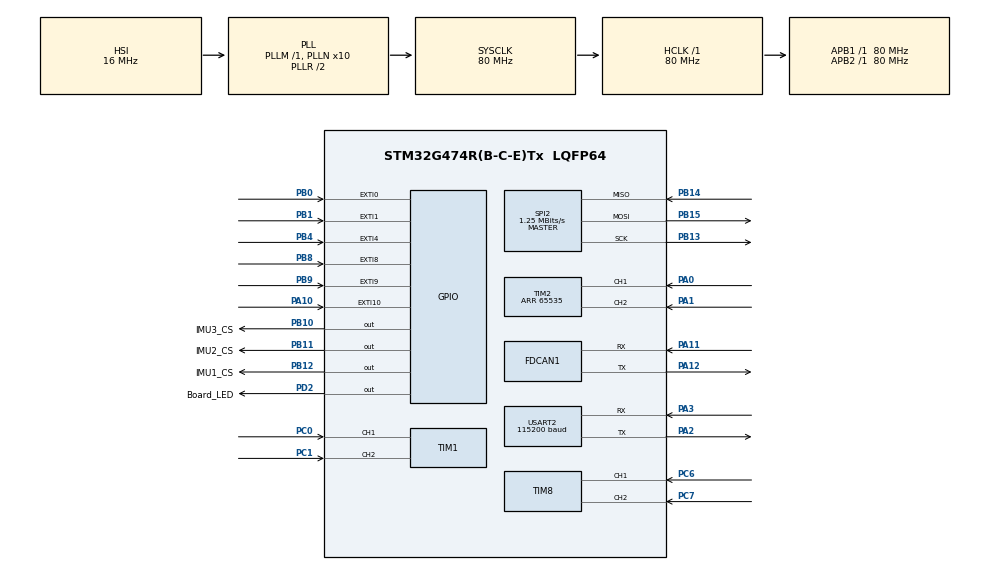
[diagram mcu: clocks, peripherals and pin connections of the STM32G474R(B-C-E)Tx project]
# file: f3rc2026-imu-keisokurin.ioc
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FDCAN1.AutoRetransmission=DISABLE
FDCAN1.CalculateBaudRateNominal=1000000
FDCAN1.CalculateTimeQuantumNominal=50.0
FDCAN1.ClockDivider=FDCAN_CLOCK_DIV1
FDCAN1.DataPrescaler=2
FDCAN1.DataSyncJumpWidth=1
FDCAN1.DataTimeSeg1=15
FDCAN1.DataTimeSeg2=4
FDCAN1.ExtFiltersNbr=0
FDCAN1.FrameFormat=FDCAN_FRAME_FD_BRS
FDCAN1.Mode=FDCAN_MODE_NORMAL
FDCAN1.NominalPrescaler=4
FDCAN1.NominalSyncJumpWidth=1
FDCAN1.NominalTimeSeg1=15
FDCAN1.NominalTimeSeg2=4
FDCAN1.ProtocolException=DISABLE
FDCAN1.StdFiltersNbr=1
FDCAN1.TransmitPause=DISABLE
FDCAN1.TxFifoQueueMode=FDCAN_TX_FIFO_OPERATION
Mcu.Family=STM32G4
Mcu.Name=STM32G474R(B-C-E)Tx
Mcu.Package=LQFP64
NVIC.FDCAN1_IT0_IRQn=true\:0\:0\:false\:false\:true\:true\:true\:true
NVIC.FDCAN1_IT1_IRQn=true\:0\:0\:false\:false\:true\:true\:true\:true
NVIC.PriorityGroup=NVIC_PRIORITYGROUP_4
NVIC.TIM6_DAC_IRQn=true\:0\:0\:false\:false\:true\:true\:true\:true
PA0.GPIO_PuPd=GPIO_PULLUP
PA0.Signal=S_TIM2_CH1
PA1.GPIO_PuPd=GPIO_PULLUP
PA1.Signal=S_TIM2_CH2
PA10.Signal=GPXTI10
PA11.Mode=FDCAN_Activate
PA11.Signal=FDCAN1_RX
PA12.Mode=FDCAN_Activate
PA12.Signal=FDCAN1_TX
PA2.Mode=Asynchronous
PA2.Signal=USART2_TX
PA3.Mode=Asynchronous
PA3.Signal=USART2_RX
PB0.Signal=GPXTI0
PB1.Signal=GPXTI1
PB10.GPIO_Label=IMU3_CS
PB10.PinState=GPIO_PIN_SET
PB10.Signal=GPIO_Output
PB11.GPIO_Label=IMU2_CS
PB11.PinState=GPIO_PIN_SET
PB11.Signal=GPIO_Output
PB12.GPIO_Label=IMU1_CS
PB12.PinState=GPIO_PIN_SET
PB12.Signal=GPIO_Output
PB13.Mode=Full_Duplex_Master
PB13.Signal=SPI2_SCK
PB14.Mode=Full_Duplex_Master
PB14.Signal=SPI2_MISO
PB15.Mode=Full_Duplex_Master
PB15.Signal=SPI2_MOSI
PB4.Signal=GPXTI4
PB8-BOOT0.Signal=GPXTI8
PB9.Signal=GPXTI9
PC0.GPIO_PuPd=GPIO_PULLUP
PC0.Signal=S_TIM1_CH1
PC1.GPIO_PuPd=GPIO_PULLUP
PC1.Signal=S_TIM1_CH2
PC6.GPIO_PuPd=GPIO_PULLUP
PC6.Signal=S_TIM8_CH1
PC7.GPIO_PuPd=GPIO_PULLUP
PC7.Signal=S_TIM8_CH2
PD2.GPIO_Label=Board_LED
PD2.Signal=GPIO_Output
PF0-OSC_IN.Mode=HSE-External-Oscillator
PF0-OSC_IN.Signal=RCC_OSC_IN
PF1-OSC_OUT.Mode=HSE-External-Oscillator
PF1-OSC_OUT.Signal=RCC_OSC_OUT
ProjectManager.HeapSize=0x200
ProjectManager.StackSize=0x400
ProjectManager.TargetToolchain=CMake
RCC.ADC12Freq_Value=80000000
RCC.ADC345Freq_Value=80000000
RCC.AHBFreq_Value=80000000
RCC.APB1Freq_Value=80000000
RCC.APB1TimFreq_Value=80000000
RCC.APB2Freq_Value=80000000
RCC.APB2TimFreq_Value=80000000
RCC.CortexFreq_Value=80000000
RCC.EXTERNAL_CLOCK_VALUE=12288000
RCC.FLatency=FLASH_LATENCY_2
RCC.HCLKFreq_Value=80000000
RCC.HSE_VALUE=8000000
RCC.HSI48_VALUE=48000000
RCC.HSI_VALUE=16000000
RCC.LSE_VALUE=32768
RCC.PLLN=10
RCC.SYSCLKFreq_VALUE=80000000
RCC.SYSCLKSource=RCC_SYSCLKSOURCE_PLLCLK
RCC.USBFreq_Value=80000000
RCC.VCOOutputFreq_Value=160000000
SH.S_TIM1_CH1.0=TIM1_CH1,Encoder_Interface
SH.S_TIM1_CH2.0=TIM1_CH2,Encoder_Interface
SH.S_TIM2_CH1.0=TIM2_CH1,Encoder_Interface
SH.S_TIM2_CH2.0=TIM2_CH2,Encoder_Interface
SH.S_TIM8_CH1.0=TIM8_CH1,Encoder_Interface
SH.S_TIM8_CH2.0=TIM8_CH2,Encoder_Interface
SPI2.BaudRatePrescaler=SPI_BAUDRATEPRESCALER_64
SPI2.CLKPhase=SPI_PHASE_2EDGE
SPI2.CLKPolarity=SPI_POLARITY_HIGH
SPI2.CalculateBaudRate=1.25 MBits/s
SPI2.DataSize=SPI_DATASIZE_8BIT
SPI2.Direction=SPI_DIRECTION_2LINES
SPI2.Mode=SPI_MODE_MASTER
SPI2.VirtualType=VM_MASTER
TIM1.EncoderMode=TIM_ENCODERMODE_TI12
TIM2.EncoderMode=TIM_ENCODERMODE_TI12
TIM2.PeriodNoDither=65535
TIM6.AutoReloadPreload=TIM_AUTORELOAD_PRELOAD_DISABLE
TIM6.CounterMode=TIM_COUNTERMODE_UP
TIM6.Dithering=Disable
TIM6.PeriodNoDither=999
TIM6.Prescaler=79
TIM6.TIM_MasterOutputTrigger=TIM_TRGO_RESET
TIM8.EncoderMode=TIM_ENCODERMODE_TI12
USART2.AutoBaudRateEnableParam=UART_ADVFEATURE_AUTOBAUDRATE_DISABLE
USART2.BaudRate=115200
USART2.ClockPrescaler=PRESCALER_DIV1
USART2.DMADisableonRxErrorParam=ADVFEATURE_DMA_ENABLEONRXERROR
USART2.DataInvertParam=ADVFEATURE_DATAINV_DISABLE
USART2.FIFOMode=FIFOMODE_DISABLE
USART2.MSBFirstParam=ADVFEATURE_MSBFIRST_DISABLE
USART2.Mode=MODE_TX_RX
USART2.OneBitSampling=UART_ONE_BIT_SAMPLE_DISABLE
USART2.OverSampling=UART_OVERSAMPLING_16
USART2.OverrunDisableParam=ADVFEATURE_OVERRUN_ENABLE
USART2.Parity=PARITY_NONE
USART2.RXFIFOThreshold=RXFIFO_THRESHOLD_1EIGHTHFULL
USART2.RxPinLevelInvertParam=ADVFEATURE_RXINV_DISABLE
USART2.StopBits=STOPBITS_1
USART2.SwapParam=ADVFEATURE_SWAP_DISABLE
USART2.TXFIFOThreshold=TXFIFO_THRESHOLD_1EIGHTHFULL
USART2.TxPinLevelInvertParam=ADVFEATURE_TXINV_DISABLE
USART2.VirtualMode-Asynchronous=VM_ASYNC
USART2.WordLength=WORDLENGTH_8B
VP_SYS_VS_DBSignals.Mode=DisableDeadBatterySignals
VP_TIM6_VS_ClockSourceINT.Mode=Enable_Timer
board=custom

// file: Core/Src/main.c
/* USER CODE BEGIN Header */
/**
  ******************************************************************************
  * @file           : main.c
  * @brief          : Main program body
  ******************************************************************************
  * @attention
  *
  * Copyright (c) 2025 STMicroelectronics.
  * All rights reserved.
  *
  * This software is licensed under terms that can be found in the LICENSE file
  * in the root directory of this software component.
  * If no LICENSE file comes with this software, it is provided AS-IS.
  *
  ******************************************************************************
  */
/* USER CODE END Header */
#include "main.h"

/* USER CODE BEGIN Includes */
#include <stdio.h>
#include <stdlib.h>
#include <stdbool.h>
#include <math.h>
/* USER CODE END Includes */

/* USER CODE BEGIN PD */
// CANIDの定義
#define CAN_ID_FEEDBACK 0x015 // グローバル座標と回転角の送信

#define M_PI 3.14159265358979323846 //math.hから除外されたとき用
/* USER CODE END PD */

/* USER CODE BEGIN PM */
#define R 30.0//mm  //radious of wheel
#define CONV M_PI / 180.0f // 度/秒 を ラジアン/秒 に変換する時に掛ける
#define PPR 2000.0 //pulses per revolution
#define START_POS_X (2000.0f+ 500.0f / 2.0f)
#define START_POS_Y (500.0f / 2.0f)
#define START_THETA M_PI

// 機体の機構パラメータ (実測値をmm単位等で設定。CADデータの原点を仮想的な機体中心とした)
const float L = 15.80f; // y軸方向を向く輪のx軸からの距離

#define AVG_WINDOW_SIZE 25
/* USER CODE END PM */

FDCAN_HandleTypeDef hfdcan1;

SPI_HandleTypeDef hspi2;

TIM_HandleTypeDef htim1;
TIM_HandleTypeDef htim2;
TIM_HandleTypeDef htim6;
TIM_HandleTypeDef htim8;

UART_HandleTypeDef huart2;

/* USER CODE BEGIN PV */
FDCAN_TxHeaderTypeDef TxHeader;

//IMU制御の変数
typedef struct {
    int16_t gx, gy, gz; //gyro (x,y,z)
    int16_t ax, ay, az; //accel(x,y,z)
} IMUData;

uint8_t whoami, whoami2, whoami3; // IMUセンサが正しく返答するかを確認するためのデバッグ用ID保持変数
volatile IMUData imu[3];
volatile float gyro_x, gyro_y, gyro_z;
volatile float accel_x, accel_y, accel_z;

// ジャイロセンサの静止時オフセット（ゼロ点バイアス誤差）を保持
float gyro_x_bias = 0.0f;
float gyro_y_bias = 0.0f;
float gyro_z_bias = 0.0f;

const float G_sensitivity = 0.070f; // 生データをdpsに変換
const float A_sensitivity = 0.488f; // 生データをミリgに変換
const float GYRO_Z_SCALE = 0.9965f; //要変更 // 実測誤差（ゲイン誤差）を微修正するための補正係数

float cos_30, sin_30;
bool isSettingBias = 1; // IMUのゼロ点バイアス（静止時ノイズ）を測定中かどうかを表すフラグ
bool isSettingWheel = 1; // オドメティ（計測輪）の位置・角度情報を初期化（リセット）中かどうかを表すフラグ
float beta = 0.1f; //Madgwickフィルタのゲイン //IMUのデータからクォータニオン（姿勢）を計算するMadgwick（マドウィック）フィルタにおける「加速度センサによる補正の強さを決めるハイパーパラメータ
float roll, pitch, yaw;
GPIO_TypeDef* const IMU_CS_PORTS[3] = {IMU1_CS_GPIO_Port, IMU2_CS_GPIO_Port, IMU3_CS_GPIO_Port}; // CSピンが属している GPIOポートを格納した配列
const uint16_t IMU_CS_PINS[3]       = {IMU1_CS_Pin, IMU2_CS_Pin, IMU3_CS_Pin}; // CSピンの ピン番号を格納

//計測輪制御の変数
volatile int16_t value[3]; // 1ms（前回からの間隔）の間に各エンコーダがカウントしたパルス数（変位量）
volatile int16_t sum_value[3]; // プログラム起動（またはリセット）からの全累積パルス数（総回転量）

//共通の変数
float dt = 0.001f; // 制御・積分計算のサンプリング周期
uint32_t last_time = 0; // 前回処理を実行した時刻（ミリ秒単位のタイムスタンプ）を記録するための変数
uint32_t print_counter = 0; // デバッグ用シリアル通信（printf）の出力間隔を間引くためのダウンカウンタ ex count=1000になったら通信
volatile uint8_t flag_1ms_update = 0; // 1msの割り込み処理が完了したことをメインループ（while(1)）へ伝える同期フラグ（フラグ変数）

/* USER CODE END PV */

void SystemClock_Config(void);
static void MX_GPIO_Init(void);
static void MX_USART2_UART_Init(void);
static void MX_FDCAN1_Init(void);
static void MX_TIM6_Init(void);
static void MX_TIM1_Init(void);
static void MX_TIM2_Init(void);
static void MX_TIM8_Init(void);
static void MX_SPI2_Init(void);
/* USER CODE BEGIN PFP */
void interboard_comms_CAN_filter_init(FDCAN_FilterTypeDef *Hfdcan_Filter_Settings);
void interboard_comms_CAN_txheader_init(FDCAN_TxHeaderTypeDef *Htxheader);
HAL_StatusTypeDef interboard_comms_CAN_RxTxSettings_init(FDCAN_TxHeaderTypeDef *Htxheader);
HAL_StatusTypeDef CAN_SEND(uint32_t CANID, uint32_t DataLength, uint8_t *txdata, FDCAN_HandleTypeDef *hfdcan, FDCAN_TxHeaderTypeDef *htxheader);
void u8_to_int(uint8_t *req, int32_t *des, uint32_t uint8_len);
void u8_to_float(uint8_t *req, float *des, uint32_t uint8_len);
void float_to_u8(float *req, uint8_t *des, uint32_t float_len);
void int16_to_u8(int16_t *req, uint8_t *des, uint32_t int_len);
void int32_to_u8(int32_t *req, uint8_t *des, uint32_t int_len);

void LSM6_Write(uint8_t reg, uint8_t data, int port);
void LSM6_ReadMulti(uint8_t reg, uint8_t* pData, uint16_t size, int port);
uint8_t LSM6_Read(uint8_t reg, int port);
void INIT_IMU(int port);
float invSqrt(float x);
void MadgwickAHRSupdateIMU(float gx, float gy, float gz, float ax, float ay, float az, float dt);
void getEulerAngles();
void resetBias();
void resetWheel();

typedef struct {
    float buffer[AVG_WINDOW_SIZE]; // 静的に確保
    int index;
    int count;
    double sum;
} MovingAvgData;
/* USER CODE END PFP */

/* USER CODE BEGIN 0 */
volatile float q[4] = {1.0f, 0.0f, 0.0f, 0.0f};
static MovingAvgData avg_x, avg_y, avg_omega;
TIM_TypeDef* const TIM[3] = {TIM2, TIM8, TIM1}; // エンコーダ入力として使用している3つのタイマー（TIM）のハードウェアレジスタアドレスをまとめたポインタ配列

int16_t read_encoder_value(int port)
{
  TIM_TypeDef* tim = TIM[port-1];
  int16_t count_t = (int16_t)tim->CNT;
  tim->CNT = 0;

  return count_t;
}

int _write(int file,char *ptr,int len)
{
  HAL_UART_Transmit(&huart2, (uint8_t*)ptr, len, 10);
  return len;
}

void init_averages(MovingAvgData *ma) {
    for(int i = 0; i < AVG_WINDOW_SIZE; i++) ma->buffer[i] = 0.0f;
    ma->index = 0;
    ma->count = 0;
    ma->sum = 0.0f;
}
float update_ma_isr(MovingAvgData *ma, float next_val) {
    // 古い値を引いて新しい値を足す (O(1)の計算)
    if (ma->count == AVG_WINDOW_SIZE) {
        ma->sum -= ma->buffer[ma->index];
    } else {
        ma->count++;
    }

    ma->buffer[ma->index] = next_val;
    ma->sum += next_val;
    ma->index = (ma->index + 1) % AVG_WINDOW_SIZE;

    return ma->sum / (float)ma->count;
}

// CANのRX FIFO1にメッセージが届いたら、それを取り出してCAN IDごとに処理する 使うかわからない
void HAL_FDCAN_RxFifo1Callback(FDCAN_HandleTypeDef *hfdcan, uint32_t RxFifo1ITs){
	if (RESET != (RxFifo1ITs & FDCAN_IT_RX_FIFO1_NEW_MESSAGE)) {

    /* Retrieve Rx messages from RX FIFO1 */
		uint8_t RxData[64] = {};
    FDCAN_RxHeaderTypeDef RxHeader;
		if (HAL_OK != HAL_FDCAN_GetRxMessage(&hfdcan1, FDCAN_RX_FIFO1, &RxHeader, RxData)) {
			printf("fdcan_getrxmessage is error\r\n");
			Error_Handler();
		}
    switch (RxHeader.Identifier)
    {
      default:
        // printf("unknown CAN ID received: 0x%03lX\r\n", RxHeader.Identifier); // printf should be commented out within Callback
        break;
    }
  }
}

void HAL_TIM_PeriodElapsedCallback(TIM_HandleTypeDef *htim){ //タイマー割り込み
	if (&htim6 == htim) { // 1000Hz
    if (isSettingBias == 0){ //IMUがON、バイアス算出済みのとき
      uint8_t buffer[12];
      for (int i=0; i<3; i++){
        LSM6_ReadMulti(0x22, buffer, 12, i+1); // IMU:一括読み出し
        imu[i].gx = ((int16_t)(buffer[1] << 8 | buffer[0]));
        imu[i].gy = ((int16_t)(buffer[3] << 8 | buffer[2]));
        imu[i].gz = ((int16_t)(buffer[5] << 8 | buffer[4]));
        imu[i].ax = ((int16_t)(buffer[7] << 8 | buffer[6]));
        imu[i].ay = ((int16_t)(buffer[9] << 8 | buffer[8]));
        imu[i].az = ((int16_t)(buffer[11] << 8 | buffer[10]));
      }

      // 軸まわりの角速度
      gyro_x = (float)(-imu[1].gy + imu[0].gy*sin_30 - imu[0].gx*cos_30 + imu[2].gx*cos_30 + imu[2].gy*sin_30)*G_sensitivity/3.0f - gyro_x_bias;
      gyro_y = (float)( imu[1].gx - imu[0].gy*cos_30 - imu[0].gx*sin_30 - imu[2].gx*sin_30 + imu[2].gy*cos_30)*G_sensitivity/3.0f - gyro_y_bias;
      gyro_z = (float)( imu[0].gz + imu[1].gz + imu[2].gz )*G_sensitivity/3.0f - gyro_z_bias;
      gyro_z = gyro_z * GYRO_Z_SCALE; // 微小なスケール誤差補正

      accel_x = (float)(-imu[1].ay + imu[0].ay*sin_30 - imu[0].ax*cos_30 + imu[2].ax*cos_30 + imu[2].ay*sin_30)*A_sensitivity/3.0f;
      accel_y = (float)( imu[1].ax - imu[0].ay*cos_30 - imu[0].ax*sin_30 - imu[2].ax*sin_30 + imu[2].ay*cos_30)*A_sensitivity/3.0f;
      accel_z = (float)( imu[0].az + imu[1].az + imu[2].az )*A_sensitivity/3.0f;

      // 微小なノイズを0とみなす, fabs:絶対値
      if (fabs(gyro_x) < 0.5) gyro_x = 0.0;
      if (fabs(gyro_y) < 0.5) gyro_y = 0.0;
      if (fabs(gyro_z) < 0.5) gyro_z = 0.0;

      MadgwickAHRSupdateIMU(gyro_x, gyro_y, gyro_z, accel_x, accel_y, accel_z, dt);

      // バイアス計算中はyawに最低値を代入する
      yaw = isSettingBias ? -32768 : atan2f(2.0f * (q[0] * q[3] + q[1] * q[2]), 1.0f - 2.0f * (q[2] * q[2] + q[3] * q[3]));
    }

    if (isSettingWheel == 0) { // 計測輪有効のとき
      value[0] = read_encoder_value(1);
      value[1] = read_encoder_value(2);
      value[2] = read_encoder_value(3);
    }
    flag_1ms_update = 1; // 1msが経過し無事割り込み処理ができたことを通知
  }
}

/* USER CODE END 0 */

int main(void)
{

  /* USER CODE BEGIN 1 */
  // 変数などの宣言を書くコーナー
  // printfなどによる stdout（標準出力）の「バッファリング（一時保持）」を無効化（OFF）する設定
  setbuf(stdout, NULL);
  /* USER CODE END 1 */

  /* MCU Configuration--------------------------------------------------------*/

  /* Reset of all peripherals, Initializes the Flash interface and the Systick. */
  HAL_Init();

  /* USER CODE BEGIN Init */
  // ハードウェアの初期化、または独自の値の初期化を書くコーナー
  cos_30 = sqrt(3)/2; sin_30 = 0.50f;//IMU用
  /* USER CODE END Init */

  /* Configure the system clock */
  SystemClock_Config();

  /* Initialize all configured peripherals */
  MX_GPIO_Init();
  MX_USART2_UART_Init();
  MX_FDCAN1_Init();
  MX_TIM6_Init();
  MX_TIM1_Init();
  MX_TIM2_Init();
  MX_TIM8_Init();
  MX_SPI2_Init();
  /* USER CODE BEGIN 2 */
  // ハードウェアの準備がすべて整った後の動作開始・設定を書くコーナー
  HAL_Delay(2000);

  // 初期化時にエラーが発生した時の処理
  if (HAL_OK != interboard_comms_CAN_RxTxSettings_init(&TxHeader)) Error_Handler();

  // 1msタイマーのスタート
  HAL_TIM_Base_Start_IT(&htim6);

  // ロリコン用のエンコーダーの起動
  HAL_TIM_Encoder_Start(&htim1, TIM_CHANNEL_ALL);
  HAL_TIM_Encoder_Start(&htim2, TIM_CHANNEL_ALL);
  HAL_TIM_Encoder_Start(&htim8, TIM_CHANNEL_ALL);

  // IMUの初期化
  INIT_IMU(1);
  INIT_IMU(2);
  INIT_IMU(3);

  whoami = LSM6_Read(0x0F,1);
  whoami2 = LSM6_Read(0x0F,2);
  whoami3 = LSM6_Read(0x0F,3);

  resetBias();
  resetWheel();
  last_time = HAL_GetTick();
  /* USER CODE END 2 */

  /* Infinite loop */
  /* USER CODE BEGIN WHILE */
  while (1)
  {
    if (flag_1ms_update == 1){
      flag_1ms_update = 0;

      int16_t txdata_i16[4] = {
        (int16_t)(yaw * 1000.0f),
        (int16_t)value[0],
        (int16_t)value[1],
        (int16_t)value[2]
      };

      uint8_t txdata_u8[8] = {0}; // 8バイトで初期化

      int16_to_u8(txdata_i16, txdata_u8, 4);
      CAN_SEND(CAN_ID_FEEDBACK, FDCAN_DLC_BYTES_8, txdata_u8, &hfdcan1, &TxHeader);

      //以下デバッグ用
      print_counter++;
      if (print_counter >= 100) { // 100回に1回（＝100ms周期、10Hz）
        print_counter = 0; // カウンタをリセット
        printf(">"); //シリアルプロッタ表示
        //IMU
        // printf("1:%d,2:%d,3:%d\r\n",whoami,whoami2,whoami3);
        // printf("gyro_x:%d,gyro_y:%d,gyro_z:%d,\r\n",(int)gyro_x,(int)gyro_y,(int)gyro_z);
        // printf("accel_x:%d,accel_y:%d,accel_z:%d,\r\n",(int)accel_x,(int)accel_y,(int)accel_z);

        //計測輪
        // printf("%d",isSettingWheel);
        // printf("1:%d,2:%d,3:%d\r\n",value[0],value[1],value[2]);
        // printf("%d,%d,%d\r\n",sum_value[0],sum_value[1],sum_value[2]);
        // printf("vx:%.4f,vy:%.4f,vz:%.4f,\r\n",dxl,dyl,dwl);
        // printf("vx':%.4f,vy':%.4f,vz':%.4f,\r\n",filtered_vx,filtered_vy,filtered_omega);
        // printf("x':%.4f,y':%.4f,theta_local':%.4f,\r\n",x, y, theta_local);

        printf("\r\n"); //シリアルプロッタ表示
      }
    }
    /* USER CODE END WHILE */

  }
}

void SystemClock_Config(void)
{
  RCC_OscInitTypeDef RCC_OscInitStruct = {0};
  RCC_ClkInitTypeDef RCC_ClkInitStruct = {0};

  /** Configure the main internal regulator output voltage
  */
  HAL_PWREx_ControlVoltageScaling(PWR_REGULATOR_VOLTAGE_SCALE1);

  /** Initializes the RCC Oscillators according to the specified parameters
  * in the RCC_OscInitTypeDef structure.
  */
  RCC_OscInitStruct.OscillatorType = RCC_OSCILLATORTYPE_HSI;
  RCC_OscInitStruct.HSIState = RCC_HSI_ON;
  RCC_OscInitStruct.HSICalibrationValue = RCC_HSICALIBRATION_DEFAULT;
  RCC_OscInitStruct.PLL.PLLState = RCC_PLL_ON;
  RCC_OscInitStruct.PLL.PLLSource = RCC_PLLSOURCE_HSI;
  RCC_OscInitStruct.PLL.PLLM = RCC_PLLM_DIV1;
  RCC_OscInitStruct.PLL.PLLN = 10;
  RCC_OscInitStruct.PLL.PLLP = RCC_PLLP_DIV2;
  RCC_OscInitStruct.PLL.PLLQ = RCC_PLLQ_DIV2;
  RCC_OscInitStruct.PLL.PLLR = RCC_PLLR_DIV2;
  if (HAL_RCC_OscConfig(&RCC_OscInitStruct) != HAL_OK)
  {
    Error_Handler();
  }

  /** Initializes the CPU, AHB and APB buses clocks
  */
  RCC_ClkInitStruct.ClockType = RCC_CLOCKTYPE_HCLK|RCC_CLOCKTYPE_SYSCLK
                              |RCC_CLOCKTYPE_PCLK1|RCC_CLOCKTYPE_PCLK2;
  RCC_ClkInitStruct.SYSCLKSource = RCC_SYSCLKSOURCE_PLLCLK;
  RCC_ClkInitStruct.AHBCLKDivider = RCC_SYSCLK_DIV1;
  RCC_ClkInitStruct.APB1CLKDivider = RCC_HCLK_DIV1;
  RCC_ClkInitStruct.APB2CLKDivider = RCC_HCLK_DIV1;

  if (HAL_RCC_ClockConfig(&RCC_ClkInitStruct, FLASH_LATENCY_2) != HAL_OK)
  {
    Error_Handler();
  }
}

static void MX_FDCAN1_Init(void)
{

  hfdcan1.Instance = FDCAN1;
  hfdcan1.Init.ClockDivider = FDCAN_CLOCK_DIV1;
  hfdcan1.Init.FrameFormat = FDCAN_FRAME_FD_BRS;
  hfdcan1.Init.Mode = FDCAN_MODE_NORMAL;
  hfdcan1.Init.AutoRetransmission = DISABLE;
  hfdcan1.Init.TransmitPause = DISABLE;
  hfdcan1.Init.ProtocolException = DISABLE;
  hfdcan1.Init.NominalPrescaler = 4;
  hfdcan1.Init.NominalSyncJumpWidth = 1;
  hfdcan1.Init.NominalTimeSeg1 = 15;
  hfdcan1.Init.NominalTimeSeg2 = 4;
  hfdcan1.Init.DataPrescaler = 2;
  hfdcan1.Init.DataSyncJumpWidth = 1;
  hfdcan1.Init.DataTimeSeg1 = 15;
  hfdcan1.Init.DataTimeSeg2 = 4;
  hfdcan1.Init.StdFiltersNbr = 1;
  hfdcan1.Init.ExtFiltersNbr = 0;
  hfdcan1.Init.TxFifoQueueMode = FDCAN_TX_FIFO_OPERATION;
  if (HAL_FDCAN_Init(&hfdcan1) != HAL_OK)
  {
    Error_Handler();
  }

}

static void MX_SPI2_Init(void)
{

  /* SPI2 parameter configuration*/
  hspi2.Instance = SPI2;
  hspi2.Init.Mode = SPI_MODE_MASTER;
  hspi2.Init.Direction = SPI_DIRECTION_2LINES;
  hspi2.Init.DataSize = SPI_DATASIZE_8BIT;
  hspi2.Init.CLKPolarity = SPI_POLARITY_HIGH;
  hspi2.Init.CLKPhase = SPI_PHASE_2EDGE;
  hspi2.Init.NSS = SPI_NSS_SOFT;
  hspi2.Init.BaudRatePrescaler = SPI_BAUDRATEPRESCALER_64;
  hspi2.Init.FirstBit = SPI_FIRSTBIT_MSB;
  hspi2.Init.TIMode = SPI_TIMODE_DISABLE;
  hspi2.Init.CRCCalculation = SPI_CRCCALCULATION_DISABLE;
  hspi2.Init.CRCPolynomial = 7;
  hspi2.Init.CRCLength = SPI_CRC_LENGTH_DATASIZE;
  hspi2.Init.NSSPMode = SPI_NSS_PULSE_DISABLE;
  if (HAL_SPI_Init(&hspi2) != HAL_OK)
  {
    Error_Handler();
  }

}

static void MX_TIM1_Init(void)
{

  TIM_Encoder_InitTypeDef sConfig = {0};
  TIM_MasterConfigTypeDef sMasterConfig = {0};

  htim1.Instance = TIM1;
  htim1.Init.Prescaler = 0;
  htim1.Init.CounterMode = TIM_COUNTERMODE_UP;
  htim1.Init.Period = 65535;
  htim1.Init.ClockDivision = TIM_CLOCKDIVISION_DIV1;
  htim1.Init.RepetitionCounter = 0;
  htim1.Init.AutoReloadPreload = TIM_AUTORELOAD_PRELOAD_DISABLE;
  sConfig.EncoderMode = TIM_ENCODERMODE_TI12;
  sConfig.IC1Polarity = TIM_ICPOLARITY_RISING;
  sConfig.IC1Selection = TIM_ICSELECTION_DIRECTTI;
  sConfig.IC1Prescaler = TIM_ICPSC_DIV1;
  sConfig.IC1Filter = 0;
  sConfig.IC2Polarity = TIM_ICPOLARITY_RISING;
  sConfig.IC2Selection = TIM_ICSELECTION_DIRECTTI;
  sConfig.IC2Prescaler = TIM_ICPSC_DIV1;
  sConfig.IC2Filter = 0;
  if (HAL_TIM_Encoder_Init(&htim1, &sConfig) != HAL_OK)
  {
    Error_Handler();
  }
  sMasterConfig.MasterOutputTrigger = TIM_TRGO_RESET;
  sMasterConfig.MasterOutputTrigger2 = TIM_TRGO2_RESET;
  sMasterConfig.MasterSlaveMode = TIM_MASTERSLAVEMODE_DISABLE;
  if (HAL_TIMEx_MasterConfigSynchronization(&htim1, &sMasterConfig) != HAL_OK)
  {
    Error_Handler();
  }

}

static void MX_TIM2_Init(void)
{

  TIM_Encoder_InitTypeDef sConfig = {0};
  TIM_MasterConfigTypeDef sMasterConfig = {0};

  htim2.Instance = TIM2;
  htim2.Init.Prescaler = 0;
  htim2.Init.CounterMode = TIM_COUNTERMODE_UP;
  htim2.Init.Period = 65535;
  htim2.Init.ClockDivision = TIM_CLOCKDIVISION_DIV1;
  htim2.Init.AutoReloadPreload = TIM_AUTORELOAD_PRELOAD_DISABLE;
  sConfig.EncoderMode = TIM_ENCODERMODE_TI12;
  sConfig.IC1Polarity = TIM_ICPOLARITY_RISING;
  sConfig.IC1Selection = TIM_ICSELECTION_DIRECTTI;
  sConfig.IC1Prescaler = TIM_ICPSC_DIV1;
  sConfig.IC1Filter = 0;
  sConfig.IC2Polarity = TIM_ICPOLARITY_RISING;
  sConfig.IC2Selection = TIM_ICSELECTION_DIRECTTI;
  sConfig.IC2Prescaler = TIM_ICPSC_DIV1;
  sConfig.IC2Filter = 0;
  if (HAL_TIM_Encoder_Init(&htim2, &sConfig) != HAL_OK)
  {
    Error_Handler();
  }
  sMasterConfig.MasterOutputTrigger = TIM_TRGO_RESET;
  sMasterConfig.MasterSlaveMode = TIM_MASTERSLAVEMODE_DISABLE;
  if (HAL_TIMEx_MasterConfigSynchronization(&htim2, &sMasterConfig) != HAL_OK)
  {
    Error_Handler();
  }

}

static void MX_TIM6_Init(void)
{

  TIM_MasterConfigTypeDef sMasterConfig = {0};

  htim6.Instance = TIM6;
  htim6.Init.Prescaler = 79;
  htim6.Init.CounterMode = TIM_COUNTERMODE_UP;
  htim6.Init.Period = 999;
  htim6.Init.AutoReloadPreload = TIM_AUTORELOAD_PRELOAD_DISABLE;
  if (HAL_TIM_Base_Init(&htim6) != HAL_OK)
  {
    Error_Handler();
  }
  sMasterConfig.MasterOutputTrigger = TIM_TRGO_RESET;
  sMasterConfig.MasterSlaveMode = TIM_MASTERSLAVEMODE_DISABLE;
  if (HAL_TIMEx_MasterConfigSynchronization(&htim6, &sMasterConfig) != HAL_OK)
  {
    Error_Handler();
  }

}

static void MX_TIM8_Init(void)
{

  TIM_Encoder_InitTypeDef sConfig = {0};
  TIM_MasterConfigTypeDef sMasterConfig = {0};

  htim8.Instance = TIM8;
  htim8.Init.Prescaler = 0;
  htim8.Init.CounterMode = TIM_COUNTERMODE_UP;
  htim8.Init.Period = 65535;
  htim8.Init.ClockDivision = TIM_CLOCKDIVISION_DIV1;
  htim8.Init.RepetitionCounter = 0;
  htim8.Init.AutoReloadPreload = TIM_AUTORELOAD_PRELOAD_DISABLE;
  sConfig.EncoderMode = TIM_ENCODERMODE_TI12;
  sConfig.IC1Polarity = TIM_ICPOLARITY_RISING;
  sConfig.IC1Selection = TIM_ICSELECTION_DIRECTTI;
  sConfig.IC1Prescaler = TIM_ICPSC_DIV1;
  sConfig.IC1Filter = 0;
  sConfig.IC2Polarity = TIM_ICPOLARITY_RISING;
  sConfig.IC2Selection = TIM_ICSELECTION_DIRECTTI;
  sConfig.IC2Prescaler = TIM_ICPSC_DIV1;
  sConfig.IC2Filter = 0;
  if (HAL_TIM_Encoder_Init(&htim8, &sConfig) != HAL_OK)
  {
    Error_Handler();
  }
  sMasterConfig.MasterOutputTrigger = TIM_TRGO_RESET;
  sMasterConfig.MasterOutputTrigger2 = TIM_TRGO2_RESET;
  sMasterConfig.MasterSlaveMode = TIM_MASTERSLAVEMODE_DISABLE;
  if (HAL_TIMEx_MasterConfigSynchronization(&htim8, &sMasterConfig) != HAL_OK)
  {
    Error_Handler();
  }

}

static void MX_USART2_UART_Init(void)
{

  huart2.Instance = USART2;
  huart2.Init.BaudRate = 115200;
  huart2.Init.WordLength = UART_WORDLENGTH_8B;
  huart2.Init.StopBits = UART_STOPBITS_1;
  huart2.Init.Parity = UART_PARITY_NONE;
  huart2.Init.Mode = UART_MODE_TX_RX;
  huart2.Init.HwFlowCtl = UART_HWCONTROL_NONE;
  huart2.Init.OverSampling = UART_OVERSAMPLING_16;
  huart2.Init.OneBitSampling = UART_ONE_BIT_SAMPLE_DISABLE;
  huart2.Init.ClockPrescaler = UART_PRESCALER_DIV1;
  huart2.AdvancedInit.AdvFeatureInit = UART_ADVFEATURE_NO_INIT;
  if (HAL_UART_Init(&huart2) != HAL_OK)
  {
    Error_Handler();
  }
  if (HAL_UARTEx_SetTxFifoThreshold(&huart2, UART_TXFIFO_THRESHOLD_1_8) != HAL_OK)
  {
    Error_Handler();
  }
  if (HAL_UARTEx_SetRxFifoThreshold(&huart2, UART_RXFIFO_THRESHOLD_1_8) != HAL_OK)
  {
    Error_Handler();
  }
  if (HAL_UARTEx_DisableFifoMode(&huart2) != HAL_OK)
  {
    Error_Handler();
  }

}

static void MX_GPIO_Init(void)
{
  GPIO_InitTypeDef GPIO_InitStruct = {0};

  /* GPIO Ports Clock Enable */
  __HAL_RCC_GPIOF_CLK_ENABLE();
  __HAL_RCC_GPIOC_CLK_ENABLE();
  __HAL_RCC_GPIOA_CLK_ENABLE();
  __HAL_RCC_GPIOB_CLK_ENABLE();
  __HAL_RCC_GPIOD_CLK_ENABLE();

  /*Configure GPIO pin Output Level */
  HAL_GPIO_WritePin(GPIOB, IMU3_CS_Pin|IMU2_CS_Pin|IMU1_CS_Pin, GPIO_PIN_SET);

  /*Configure GPIO pin Output Level */
  HAL_GPIO_WritePin(Board_LED_GPIO_Port, Board_LED_Pin, GPIO_PIN_RESET);

  /*Configure GPIO pins : PB0 PB1 PB4 PB8
                           PB9 */
  GPIO_InitStruct.Pin = GPIO_PIN_0|GPIO_PIN_1|GPIO_PIN_4|GPIO_PIN_8
                          |GPIO_PIN_9;
  GPIO_InitStruct.Mode = GPIO_MODE_IT_RISING;
  GPIO_InitStruct.Pull = GPIO_NOPULL;
  HAL_GPIO_Init(GPIOB, &GPIO_InitStruct);

  /*Configure GPIO pins : IMU3_CS_Pin IMU2_CS_Pin IMU1_CS_Pin */
  GPIO_InitStruct.Pin = IMU3_CS_Pin|IMU2_CS_Pin|IMU1_CS_Pin;
  GPIO_InitStruct.Mode = GPIO_MODE_OUTPUT_PP;
  GPIO_InitStruct.Pull = GPIO_NOPULL;
  GPIO_InitStruct.Speed = GPIO_SPEED_FREQ_LOW;
  HAL_GPIO_Init(GPIOB, &GPIO_InitStruct);

  /*Configure GPIO pin : PA10 */
  GPIO_InitStruct.Pin = GPIO_PIN_10;
  GPIO_InitStruct.Mode = GPIO_MODE_IT_RISING;
  GPIO_InitStruct.Pull = GPIO_NOPULL;
  HAL_GPIO_Init(GPIOA, &GPIO_InitStruct);

  /*Configure GPIO pin : Board_LED_Pin */
  GPIO_InitStruct.Pin = Board_LED_Pin;
  GPIO_InitStruct.Mode = GPIO_MODE_OUTPUT_PP;
  GPIO_InitStruct.Pull = GPIO_NOPULL;
  GPIO_InitStruct.Speed = GPIO_SPEED_FREQ_LOW;
  HAL_GPIO_Init(Board_LED_GPIO_Port, &GPIO_InitStruct);

}

/* USER CODE BEGIN 4 */
// こっちで関数定義するならプロトタイプ宣言がいる

// CAN受信側のフィルタ設定を作る関数 使うか不明
void interboard_comms_CAN_filter_init(FDCAN_FilterTypeDef *Hfdcan_Filter_Settings)
{
  Hfdcan_Filter_Settings->IdType = FDCAN_STANDARD_ID;
  Hfdcan_Filter_Settings->FilterIndex = 0;
  Hfdcan_Filter_Settings->FilterType = FDCAN_FILTER_RANGE;
  Hfdcan_Filter_Settings->FilterConfig = FDCAN_FILTER_TO_RXFIFO1;
  Hfdcan_Filter_Settings->FilterID1 = 0x00;
  Hfdcan_Filter_Settings->FilterID2 = 0x7ff;
}

// CAN通信送信側の設定
void interboard_comms_CAN_txheader_init(FDCAN_TxHeaderTypeDef *Htxheader)
{
  Htxheader->Identifier = 0x00;
  Htxheader->IdType = FDCAN_STANDARD_ID;
  Htxheader->TxFrameType = FDCAN_DATA_FRAME;
  Htxheader->DataLength = FDCAN_DLC_BYTES_8;
  Htxheader->ErrorStateIndicator = FDCAN_ESI_ACTIVE;
  Htxheader->FDFormat = FDCAN_FD_CAN;
  Htxheader->BitRateSwitch = FDCAN_BRS_ON;
  Htxheader->TxEventFifoControl = FDCAN_NO_TX_EVENTS;
  Htxheader->MessageMarker = 0;
}

// CANのReceive/Transmit設定をして、FDCANを起動する関数
HAL_StatusTypeDef interboard_comms_CAN_RxTxSettings_init(FDCAN_TxHeaderTypeDef *Htxheader)
{
  FDCAN_FilterTypeDef FDCAN_Filter_settings;
  interboard_comms_CAN_filter_init(&FDCAN_Filter_settings);
  interboard_comms_CAN_txheader_init(Htxheader);
  if (HAL_OK != HAL_FDCAN_ConfigFilter(&hfdcan1, &FDCAN_Filter_settings))
  {
    printf("fdcan_configfilter is error\r\n");
    return HAL_ERROR;
  }
  if (HAL_OK != HAL_FDCAN_ConfigGlobalFilter(&hfdcan1, FDCAN_REJECT, FDCAN_FILTER_REJECT, FDCAN_FILTER_REMOTE, FDCAN_FILTER_REMOTE))
  {
    printf("fdcan_configglobalfilter is error\r\n");
    return HAL_ERROR;
  }
  if (HAL_OK != HAL_FDCAN_Start(&hfdcan1))
  {
    printf("fdcan_start is error\r\n");
    return HAL_ERROR;
  }
  if (HAL_OK != HAL_FDCAN_ActivateNotification(&hfdcan1, FDCAN_IT_RX_FIFO1_NEW_MESSAGE, 0))
  {
    printf("fdcan_activatenotification is error\r\n");
    return HAL_ERROR;
  }

  return HAL_OK;
}

// CANでデータを1個送るための共通関数
// CAN_SEND(0x7FE, TxData, &hfdcan1, &TxHeader); // example usage
HAL_StatusTypeDef CAN_SEND(uint32_t CANID, uint32_t DataLength, uint8_t *txdata, FDCAN_HandleTypeDef *hfdcan, FDCAN_TxHeaderTypeDef *htxheader)
{
  htxheader->DataLength = DataLength;
  htxheader->Identifier = CANID;
  if (HAL_OK != HAL_FDCAN_AddMessageToTxFifoQ(hfdcan, htxheader, txdata))
  {
    printf("addmessage error\r\n");
    return HAL_ERROR;
  }
  return HAL_OK;
}

// LSM6系IMUにSPIでレジスタを書き込む関数
void LSM6_Write(uint8_t reg, uint8_t data, int port)
{
    GPIO_TypeDef* PORT = IMU_CS_PORTS[port - 1];
    uint16_t PIN = IMU_CS_PINS[port - 1];
    uint8_t tx[2] = {reg & 0x7F, data};

    HAL_GPIO_WritePin(PORT, PIN, GPIO_PIN_RESET);
    HAL_SPI_Transmit(&hspi2, tx, 2, HAL_MAX_DELAY);
    HAL_GPIO_WritePin(PORT, PIN, GPIO_PIN_SET);
}

// SPI通信で読み込みを行うドライバー関数
uint8_t LSM6_Read(uint8_t reg, int port) { //1つのIMUから単独で読み出す場合
    GPIO_TypeDef* PORT = IMU_CS_PORTS[port - 1];
    uint16_t PIN = IMU_CS_PINS[port - 1];
    uint8_t tx = reg | 0x80;  // Read（MSB=1）
    uint8_t rx = 0;

    HAL_GPIO_WritePin(PORT, PIN, GPIO_PIN_RESET); // CS LOW
    HAL_SPI_Transmit(&hspi2, &tx, 1, HAL_MAX_DELAY); // アドレス送信
    HAL_SPI_Receive(&hspi2, &rx, 1, HAL_MAX_DELAY); // データ受信
    HAL_GPIO_WritePin(PORT, PIN, GPIO_PIN_SET); // CS HIGH

    return rx;
}

// IMUのセンサー値を最高速・超安定で丸ごと取得するためのメイン関数
void LSM6_ReadMulti(uint8_t reg, uint8_t* pData, uint16_t size, int port) { //1つのIMUからまとめて読み出す場合
    GPIO_TypeDef* PORT = IMU_CS_PORTS[port - 1];
    uint16_t PIN = IMU_CS_PINS[port - 1];
    uint8_t tx_buf[13] = {0};
    uint8_t rx_buf[13] = {0};
    tx_buf[0] = reg | 0x80;

    HAL_GPIO_WritePin(PORT, PIN, GPIO_PIN_RESET);
    // 送信と受信を同時に行う（サイズは アドレス1byte + データ分）
    if(HAL_SPI_TransmitReceive(&hspi2, tx_buf, rx_buf, size + 1, HAL_MAX_DELAY) == HAL_OK) {
        // rx_buf[0]はアドレス送信時のゴミなので、rx_buf[1]からコピー
        for(int i = 0; i < size; i++) {
            pData[i] = rx_buf[i + 1];
        }
    }
    HAL_GPIO_WritePin(PORT, PIN, GPIO_PIN_SET);
}

// IMUの初期化関数
void INIT_IMU(int port){
  /*センサの初期化*/
  LSM6_Write(0x12, 0x44,port); // CTRL3: reboot,BDU有効化,アドレス自動インクリメント有効化
  /*ジャイロの初期化*/
  LSM6_Write(0x15, 0x04,port); // CTRL6: FS=±2000dps
  LSM6_Write(0x11, 0x06,port); // CTRL2: ODR=1.92kHz
  /*加速度の初期化*/
  LSM6_Write(0x17, 0x03,port); // CTRL8: FS=±16g
  LSM6_Write(0x10, 0x06,port); // CTRL1: ODR=1.92kHz
}

float invSqrt(float x){
  return 1.0f / sqrtf(x);
}

void MadgwickAHRSupdateIMU(float gx, float gy, float gz, float ax, float ay, float az, float dt){
  float recipNorm;
  float s0, s1, s2, s3;
  float qDot1, qDot2, qDot3, qDot4;
  float _2q0, _2q1, _2q2, _2q3, _4q0, _4q1, _4q2, _8q1, _8q2, q0q0, q1q1, q2q2, q3q3;

  // 度/秒 を ラジアン/秒 に変換
  gx *= CONV;
  gy *= CONV;
  gz *= CONV;

  // ジャイロによるクォータニオンの変化率
  qDot1 = 0.5f * (-q[1] * gx - q[2] * gy - q[3] * gz);
  qDot2 = 0.5f * (q[0] * gx + q[2] * gz - q[3] * gy);
  qDot3 = 0.5f * (q[0] * gy - q[1] * gz + q[3] * gx);
  qDot4 = 0.5f * (q[0] * gz + q[1] * gy - q[2] * gx);

  // 加速度が有効な場合のみ補正計算を行う
  if(!((ax == 0.0f) && (ay == 0.0f) && (az == 0.0f))) {
    recipNorm = invSqrt(ax * ax + ay * ay + az * az);
    ax *= recipNorm; ay *= recipNorm; az *= recipNorm;

    // 勾配降下法の計算
    _2q0 = 2.0f * q[0]; _2q1 = 2.0f * q[1]; _2q2 = 2.0f * q[2]; _2q3 = 2.0f * q[3];
    _4q0 = 4.0f * q[0]; _4q1 = 4.0f * q[1]; _4q2 = 4.0f * q[2];
    _8q1 = 8.0f * q[1]; _8q2 = 8.0f * q[2];
    q0q0 = q[0] * q[0]; q1q1 = q[1] * q[1]; q2q2 = q[2] * q[2]; q3q3 = q[3] * q[3];

    s0 = _4q0 * q2q2 + _2q2 * ax + _4q0 * q1q1 - _2q1 * ay;
    s1 = _4q1 * q3q3 - _2q3 * ax + 4.0f * q0q0 * q[1] - _2q0 * ay - _4q1 + _8q1 * q1q1 + _8q1 * q2q2 + _4q1 * az;
    s2 = 4.0f * q0q0 * q[2] + _2q0 * ax + _4q2 * q3q3 - _2q3 * ay - _4q2 + _8q2 * q1q1 + _8q2 * q2q2 + _4q2 * az;
    s3 = 4.0f * q1q1 * q[3] - _2q1 * ax + 4.0f * q2q2 * q[3] - _2q2 * ay;

    recipNorm = invSqrt(s0 * s0 + s1 * s1 + s2 * s2 + s3 * s3);
    s0 *= recipNorm; s1 *= recipNorm; s2 *= recipNorm; s3 *= recipNorm;

    qDot1 -= beta * s0; qDot2 -= beta * s1; qDot3 -= beta * s2; qDot4 -= beta * s3;
  }

  // 積分してクォータニオンを更新
  q[0] += qDot1 * dt; q[1] += qDot2 * dt; q[2] += qDot3 * dt; q[3] += qDot4 * dt;
  recipNorm = invSqrt(q[0] * q[0] + q[1] * q[1] + q[2] * q[2] + q[3] * q[3]);
  q[0] *= recipNorm; q[1] *= recipNorm; q[2] *= recipNorm; q[3] *= recipNorm;
}

// デバック用
void getEulerAngles(){
  roll  = atan2f(2.0f * (q[0] * q[1] + q[2] * q[3]), 1.0f - 2.0f * (q[1] * q[1] + q[2] * q[2])) * 57.29578f;
  pitch = asinf(2.0f * (q[0] * q[2] - q[3] * q[1])) * 57.29578f;
  yaw   = atan2f(2.0f * (q[0] * q[3] + q[1] * q[2]), 1.0f - 2.0f * (q[2] * q[2] + q[3] * q[3])) * 57.29578f;
}

void resetBias(){
  // 起動時に1000回計測して平均をとる
  isSettingBias = 1;
  gyro_x_bias = 0.0f;
  gyro_y_bias = 0.0f;
  gyro_z_bias = 0.0f;
  for(int i=0; i<1000; i++) {
    uint8_t buffer6[12];
    for (int j=0; j<3; j++) {
      LSM6_ReadMulti(0x22, buffer6, 12, j+1); // IMU:一括読み出し
      imu[j].gx = ((int16_t)(buffer6[1] << 8 | buffer6[0]));
      imu[j].gy = ((int16_t)(buffer6[3] << 8 | buffer6[2]));
      imu[j].gz = ((int16_t)(buffer6[5] << 8 | buffer6[4]));
      imu[j].ax = ((int16_t)(buffer6[7] << 8 | buffer6[6]));
      imu[j].ay = ((int16_t)(buffer6[9] << 8 | buffer6[8]));
      imu[j].az = ((int16_t)(buffer6[11]<< 8 | buffer6[10]));
    }

    gyro_x_bias += (float)(-imu[1].gy + imu[0].gy*sin_30 - imu[0].gx*cos_30 + imu[2].gx*cos_30 + imu[2].gy*sin_30);
    gyro_y_bias += (float)( imu[1].gx - imu[0].gy*cos_30 - imu[0].gx*sin_30 - imu[2].gx*sin_30 + imu[2].gy*cos_30);
    gyro_z_bias += (float)( imu[0].gz + imu[1].gz + imu[2].gz );

    HAL_Delay(1);
  }
  gyro_x_bias = gyro_x_bias *G_sensitivity * 0.001f / 3.0f;
  gyro_y_bias = gyro_y_bias *G_sensitivity * 0.001f / 3.0f;
  gyro_z_bias = gyro_z_bias *G_sensitivity * 0.001f / 3.0f;

  isSettingBias = 0;
}

void resetWheel(){
  isSettingWheel = 1;
  init_averages(&avg_x);
  init_averages(&avg_y);
  init_averages(&avg_omega);
  sum_value[0] = 0;
  sum_value[1] = 0;
  sum_value[2] = 0;
  isSettingWheel = 0;
}

// uint8_t 型のバイト列（4バイト単位）を、IEEE 754 形式の float（単精度浮動小数点数）配列へ復元・変換する関数
void u8_to_float(uint8_t *req, float *des, uint32_t uint8_len)
{
  union IntAndFloat {
    uint32_t ival;
    float fval;
  };
  for(int i = 0; i < uint8_len/4; i++){
    uint32_t f32_u32 = ((req[i*4] << 24) | (req[i*4+1] << 16) | (req[i*4+2] << 8) | (req[i*4+3]));
    union IntAndFloat target;
    target.ival = f32_u32;
    des[i] = target.fval;
  }
}

void u8_to_int(uint8_t *req, int32_t *des, uint32_t uint8_len)
{
  for(int i = 0; i < uint8_len/4; i++){
    uint32_t u32 = ((req[i*4] << 24) | (req[i*4+1] << 16) | (req[i*4+2] << 8) | (req[i*4+3]));
    des[i] = (int32_t)u32;
  }
}

void float_to_u8(float *req, uint8_t *des, uint32_t float_len)
{
  union IntAndFloat {
    uint32_t ival;
    float fval;
  };
  for (int i = 0; i < float_len; i++)
  {
    union IntAndFloat target;
    target.fval = req[i];
    uint32_t val = target.ival;
    des[i*4    ] = (uint8_t)((val >> 24) & 0xff);
    des[i*4 + 1] = (uint8_t)((val >> 16) & 0xff);
    des[i*4 + 2] = (uint8_t)((val >>  8) & 0xff);
    des[i*4 + 3] = (uint8_t)((val      ) & 0xff);
  }
}

void int16_to_u8(int16_t *req, uint8_t *des, uint32_t int_len)
{
  for (uint32_t i = 0; i < int_len; i++)
  {
    uint16_t val = (uint16_t)req[i];
    des[i * 2]     = (uint8_t)((val >> 8) & 0xFF); // 上位バイト
    des[i * 2 + 1] = (uint8_t)(val & 0xFF);        // 下位バイト
  }
}

void int32_to_u8(int32_t *req, uint8_t *des, uint32_t int_len)
{
  for (int i = 0; i < int_len; i++)
  {
    uint32_t val = (uint32_t)req[i];
    des[i*4    ] = (uint8_t)((val >> 24) & 0xff);
    des[i*4 + 1] = (uint8_t)((val >> 16) & 0xff);
    des[i*4 + 2] = (uint8_t)((val >>  8) & 0xff);
    des[i*4 + 3] = (uint8_t)((val      ) & 0xff);
  }
}
/* USER CODE END 4 */

void Error_Handler(void)
{
  __disable_irq();
  while (1)
  {
  }
}
